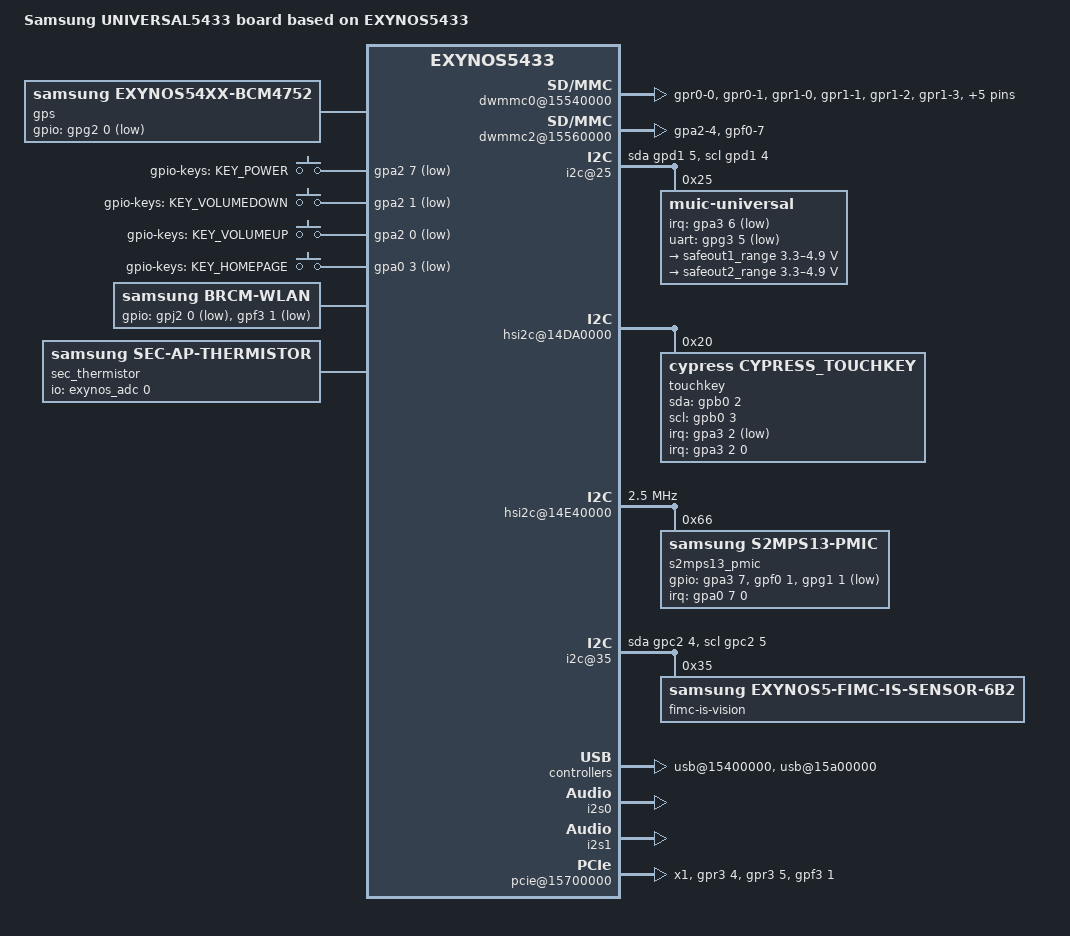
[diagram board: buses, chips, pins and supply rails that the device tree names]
/*
 * SAMSUNG UNIVERSAL5433 board device tree source
 *
 * Copyright (c) 2013 Samsung Electronics Co., Ltd.
 *		http://www.samsung.com
 *
 * This program is free software; you can redistribute it and/or modify
 * it under the terms of the GNU General Public License version 2 as
 * published by the Free Software Foundation.
*/

#include "exynos5433.dtsi"

/ {

	model = "Samsung UNIVERSAL5433 board based on EXYNOS5433";
	compatible = "samsung,UNIVERSAL5433", "samsung,exynos5433";

	aliases {
		spi0 = &spi_0;
		spi1 = &spi_1;
		spi2 = &spi_2;
		spi3 = &spi_3;
		spi4 = &spi_4;
		spi5 = &spi_5;
		spi6 = &spi_6;
	};

	chosen {
		bootargs = "console=ttySAC1,115200 vmalloc=256M";
	};

	fixed-rate-clocks {
		oscclk {
			compatible = "samsung,exynos5433-oscclk";
			clock-frequency = <24000000>;
		};
	};

	dwmmc0@15540000 {
		status = "okay";
		num-slots = <1>;
		broken-cd;
		bypass-smu;
		clock-gate;
		enable-cclk-on-suspend;
		fixed_volt;
		only_once_tune;
		supports-highspeed;
		supports-hs200-1-8v-mode;
		supports-ddr200-1-8v-mode;
		supports-ddr200-enhanced-strobe;
		supports-poweroff-notification;
		device-driver = <1>;
		enable-cache-control;
		enable-no-sleep-cmd;
		use-fine-tuning;
		use-enable-shift;
		enable-ulp-mode;
		ignore-phase = <(1 << 7 | 1 << 6)>;
		extra_tuning;
		bypass-for-allpass;
		desc-size = <4>;
		fifo-depth = <0x80>;
		qos_int_level = <400000>;
		use-enable-shift;
		card-detect-delay = <200>;
		samsung,dw-mshc-ddr200-delay-line = <0x40>;
		samsung,dw-mshc-ddr200-tx-delay-line = <0x40>;
		samsung,dw-mshc-txdt-crc-timer-fastlimit = <0x34>;
		samsung,dw-mshc-txdt-crc-timer-initval = <0x38>;
		samsung,dw-mshc-ciu-div = <3>;
		samsung,dw-mshc-sdr-timing = <3 0 2 0>;
		samsung,dw-mshc-sdr-hs-timing = <3 0 2 1>;
		samsung,dw-mshc-ddr-timing = <3 0 3 2>;
		samsung,dw-mshc-hs200-timing = <3 0 3 0>;
		samsung,dw-mshc-ddr200-timing = <1 0 3 0>;
		samsung,dw-mshc-ddr200-ulp-timing = <3 0 3 0>;
		clk_pin = "gpr0-0";
		clk_addr = "15690000.pinctrl";
		clk_val = <0x3>;
		clk_str_num = <6>;
		num-ref-clks = <10>;
		ciu_clkin = <25 50 50 100 200 100 200 400 400 200>;
		pinctrl-names = "default";
		pinctrl-0 = <&sd0_clk &sd0_cmd &sd0_rdqs &sd0_bus1 &sd0_bus4 &sd0_bus8>;
		gpios = <&gpd6 6 0>;
		slot@0 {
			reg = <0>;
			bus-width = <8>;
		};
	};

	dwmmc1@15550000 {
		status = "disabled";
		num-slots = <1>;
		fixed_volt;
		clock-gate;
		enable-cclk-on-suspend;
		only_once_tune;
		supports-highspeed;
		not-allow-single-dma;
		desc-size = <4>;
		fifo-depth = <0x40>;
		card-detect-delay = <200>;
		qos_int_level = <200000>;
		samsung,dw-mshc-ciu-div = <3>;
		samsung,dw-mshc-sdr-timing = <3 0 2 1>;
		samsung,dw-mshc-ddr-timing = <3 0 3 2>;
		num-ref-clks = <8>;
		ciu_clkin = <25 50 50 100 200 100 200 400>;
		pinctrl-names = "default";
		pinctrl-0 = <&sd1_clk &sd1_cmd &sd1_bus1 &sd1_bus4>;

		slot@0 {
			reg = <0>;
			bus-width = <4>;
		};
	};

	dwmmc2@15560000 {
		status = "okay";
		num-slots = <1>;
		bypass-smu;
		supports-highspeed;
		supports-sdr104-mode;
		only_once_tune;
		clock-gate;
		enable-cclk-on-suspend;
		fix-fmp-size-mismatch;
		not-allow-single-dma;
		desc-size = <4>;
		use-fine-tuning;
		bypass-for-allpass;
		cd-type = <0>;
		fifo-depth = <0x40>;
		card-detect-delay = <200>;
		qos_int_level = <400000>;
		ignore-phase = <(1 << 7)>;
		samsung,dw-mshc-ciu-div = <3>;
		samsung,dw-mshc-sdr-timing = <3 0 2 1>;
		samsung,dw-mshc-ddr-timing = <3 0 3 2>;
		clk_pin = "gpr4-0";
		clk_addr = "15690000.pinctrl";
		clk_val = <0x2>;
		clk_str_num = <6>;
		num-ref-clks = <8>;
		ciu_clkin = <25 50 50 100 200 100 200 400>;
		pinctrl-names = "default", "output";
		pinctrl-0 = <&sd2_clk &sd2_cmd &sd2_bus1 &sd2_bus4 &dwmmc2_cd_ext_irq &dwmmc2_vmmc_en_gpio>;
		pinctrl-1 = <&sd2_clk_output &sd2_cmd_output &sd2_bus1 &sd2_bus4 &dwmmc2_cd_ext_irq &dwmmc2_vmmc_en_gpio>;

		gpio-controller;
		#gpio-cells = <2>;
		cd-gpio = <&gpa2 4 0xf>;
		sec-sd-slot-type = <2>; /* Hybrid slot model */

		vmmc-en-gpio = <&gpf0 7 0x1>;

		slot@0 {
			reg = <0>;
			bus-width = <4>;
			disable-wp;
		};
	};

	pinctrl@15690000 {
		sd0_clk: sd0-clk {
			samsung,pins = "gpr0-0";
			samsung,pin-function = <2>;
			samsung,pin-pud = <0>;
			samsung,pin-drv = <3>;
		};

		sd0_cmd: sd0-cmd {
			samsung,pins = "gpr0-1";
			samsung,pin-function = <2>;
			samsung,pin-pud = <0>;
			samsung,pin-drv = <2>;
		};

		sd0_bus1: sd0-bus-width1 {
			samsung,pins = "gpr1-0";
			samsung,pin-function = <2>;
			samsung,pin-pud = <0>;
			samsung,pin-drv = <2>;
		};

		sd0_bus4: sd0-bus-width4 {
			samsung,pins = "gpr1-1", "gpr1-2", "gpr1-3";
			samsung,pin-function = <2>;
			samsung,pin-pud = <0>;
			samsung,pin-drv = <2>;
		};

		sd0_bus8: sd0-bus-width8 {
			samsung,pins = "gpr1-4", "gpr1-5", "gpr1-6", "gpr1-7";
			samsung,pin-function = <2>;
			samsung,pin-pud = <0>;
			samsung,pin-drv = <2>;
		};
	};

	pinctrl@11090000 {
		dwmmc2_vmmc_en_gpio: dwmmc2-vmmc-en-gpio {
			samsung,pins = "gpf0-7";
			samsung,pin-function = <0x1>;
			samsung,pin-pud = <0>;
		};
	};

	pinctrl@10580000 {
		dwmmc2_cd_ext_irq: dwmmc2_cd_ext_irq {
			samsung,pins = "gpa2-4";
			samsung,pin-function = <0xf>;
			samsung,pin-pud = <0>;
			samsung,pin-drv = <0>;
		};
		pmic_irq: pmic-irq {
			samsung,pins = "gpa0-7";
			samsung,pin-pud = <0>;
			samsung,pin-drv = <3>;
		};
		/* Warm reset information from AP */
		pm_wrsti: pm-wrsti {
			samsung,pins = "gpf5-4";
			samsung,pin-pud = <0>;
			samsung,pin-con-pdn = <3>;
		};

		gpa3_pull_up: gpa3_pull_up_for_smpl {
			samsung,pins = "gpa3-7";
			samsung,pin-function = <0xf>;
			samsung,pin-pud = <3>;
			samsung,pin-drv = <0>;
		};

	};

	pinctrl@14CC0000 {
		uart0_rts: uart0-rts {
			samsung,pins = "gpd0-3";
			samsung,pin-function = <2>;
			samsung,pin-pud = <1>;
			samsung,pin-con-pdn = <3>;
			samsung,pin-pud-pdn = <1>;
		};

		uart0_cts: uart0-cts {
			samsung,pins = "gpd0-2";
			samsung,pin-function = <2>;
			samsung,pin-pud = <1>;
			samsung,pin-con-pdn = <3>;
			samsung,pin-pud-pdn = <1>;
		};

		uart0_tx: uart0-tx {
			samsung,pins = "gpd0-1";
			samsung,pin-function = <2>;
			samsung,pin-pud = <3>;
			samsung,pin-con-pdn = <3>;
			samsung,pin-pud-pdn = <3>;
		};

		uart0_rx: uart0-rx {
			samsung,pins = "gpd0-0";
			samsung,pin-function = <2>;
			samsung,pin-pud = <3>;
			samsung,pin-con-pdn = <3>;
			samsung,pin-pud-pdn = <3>;
		};
	};

	serial@14C10000 {
		pinctrl-0 = <&uart0_rts &uart0_cts &uart0_tx &uart0_rx>;
	};
	
	gps {
		compatible = "samsung,exynos54xx-bcm4752";
		gpios = <&gpg2 0 0x1>;  /* GPS_PWR_EN */
		status = "okay";
	};
	
	gpio_keys {
		compatible = "gpio-keys";
		#address-cells = <1>;
		#size-cells = <0>;
		pinctrl-names = "default";
		button@1 {
			label = "gpio-keys: KEY_POWER";
			interrupts = <7 0 0>;
			interrupt-parent = <&gpa2>;
			linux,code = <116>;
			gpios = <&gpa2 7 0xf>;
			gpio-key,wakeup = <1>;
		};
		button@2 {
			label = "gpio-keys: KEY_VOLUMEDOWN";
			interrupts = <1 0 0>;
			interrupt-parent = <&gpa2>;
			linux,code = <114>;
			gpios = <&gpa2 1 0xf>;
		};
		button@3 {
			label = "gpio-keys: KEY_VOLUMEUP";
			interrupts = <0 0 0>;
			interrupt-parent = <&gpa2>;
			linux,code = <115>;
			gpios = <&gpa2 0 0xf>;
		};
		button@4 {
			label = "gpio-keys: KEY_HOMEPAGE";
			interrupts = <3 0 0>;
			interrupt-parent = <&gpa0>;
			linux,code = <172>;
			gpios = <&gpa0 3 0xf>;
			gpio-key,wakeup = <1>;
		};
	};

	pinctrl@10580000 {
		if_pmic_irq: if-pmic-irq {
			samsung,pins = "gpa1-5";
			samsung,pin-function = <0>;
			samsung,pin-pud = <0>;
			samsung,pin-drv = <0>;
		};
		muic_irq: muic-irq {
			samsung,pins = "gpa3-6";
			samsung,pin-function = <0>;
			samsung,pin-pud = <0>;
			samsung,pin-drv = <0>;
		};
		wc_irq: wc-irq {
			samsung,pins = "gpa3-5";
			samsung,pin-function = <0>;
			samsung,pin-pud = <0>;
			samsung,pin-drv = <0>;
		};
	};

	pinctrl@14CC0000 {
		/* touchkey i2c*/
		cfg_i2c: cfg-i2c {
			samsung,pins = "gpb0-3", "gpb0-2";
			samsung,pin-function = <4>;
			samsung,pin-pud = <0>;
			samsung,pin-drv = <0>;
		};
		cfg_gpio: cfg_gpio {
			samsung,pins = "gpb0-3", "gpb0-2";
			samsung,pin-function = <0>;
			samsung,pin-pud = <0>;
			samsung,pin-drv = <0>;
		};

		/* muic i2c*/
		muic_i2c: muic-i2c {
			samsung,pins = "gpd1-5", "gpd1-4";
			samsung,pin-function = <1>;
			samsung,pin-pud = <0>;
			samsung,pin-drv = <0>;
		};

		/delete-node/ spi3-cs;
		uart_gpio: uart_gpio {
			samsung,pins = "gpg3-5";
			samsung,pin-function = <1>;
			samsung,pin-pud = <0>;
			samsung,pin-drv = <0>;
		};
	};

	pinctrl@10580000 {
		/* touchkey interrupt*/
		cfg_irq: cfg-irq {
			samsung,pins = "gpa3-2";
			samsung,pin-function = <0xf>;
			samsung,pin-pud = <0>;
			samsung,pin-drv = <0>;
		};
		cfg_input: cfg-input {
			samsung,pins = "gpa3-2";
			samsung,pin-function = <0>;
			samsung,pin-pud = <1>;
			samsung,pin-drv = <0>;
		};
	};

	pinctrl@14CE0000 {
		hs_i2c5_bus: hs-i2c5-bus {
			samsung,pins = "gpj1-1", "gpj1-0";
			samsung,pin-function = <4>;
			samsung,pin-pud = <0>;
			samsung,pin-drv = <0>;
			samsung,pin-con-pdn = <2>;
			samsung,pin-pud-pdn = <1>;
		};
	};

	hsi2c@14D90000 {
		max77843@66 {
			status = "disabled";
			compatible = "maxim,max77843";
			reg = <0x66>;
			pinctrl-names = "default";
			pinctrl-0 = <&if_pmic_irq &vibetonz_pwm &wc_irq>;
			max77843,irq-gpio = <&gpa1 5 1>;
			max77843,wakeup;

			regulators {
				ESAFEOUT1 {
					regulator-compatible = "safeout1";
					regulator-name = "safeout1_range";
					regulator-min-microvolt = <3300000>;
					regulator-max-microvolt = <4900000>;
					regulator-boot-on;
				};

				ESAFEOUT2 {
					regulator-compatible = "safeout2";
					regulator-name = "safeout2_range";
					regulator-min-microvolt = <3300000>;
					regulator-max-microvolt = <4900000>;
				};
			};
		};
		max77849@66 {
			status = "disabled";
			compatible = "maxim,max77849";
			reg = <0x66>;
			pinctrl-names = "default";
			pinctrl-0 = <&if_pmic_irq &vibetonz_pwm &wc_irq>;
			max77849,irq-gpio = <&gpa1 5 1>;
			max77849,wakeup;

			regulators {
				ESAFEOUT1 {
					regulator-compatible = "safeout1";
					regulator-name = "safeout1_range";
					regulator-min-microvolt = <3300000>;
					regulator-max-microvolt = <4900000>;
					regulator-boot-on;
				};

				ESAFEOUT2 {
					regulator-compatible = "safeout2";
					regulator-name = "safeout2_range";
					regulator-min-microvolt = <3300000>;
					regulator-max-microvolt = <4900000>;
				};
			};
		};
	};

	i2c@25 {
		compatible = "i2c-gpio";
		gpios = <&gpd1 5 0 &gpd1 4 0>;
		i2c-gpio,delay-us = <2>;
		#address-cells = <1>;
		#size-cells = <0>;
		status = "ok";
		muic-universal@25 {
			compatible = "muic-universal";
			reg = <0x25>;
			pinctrl-names = "default";
			pinctrl-0 = <&muic_irq>;
			muic-universal,irq-gpio = <&gpa3 6 1>;
			muic-universal,uart-gpio = <&gpg3 5 1>;
			muic-universal,wakeup;

			regulators {
				ESAFEOUT1 {
					regulator-compatible = "safeout1";
					regulator-name = "safeout1_range";
					regulator-min-microvolt = <3300000>;
					regulator-max-microvolt = <4900000>;
					regulator-boot-on;
				};

				ESAFEOUT2 {
					regulator-compatible = "safeout2";
					regulator-name = "safeout2_range";
					regulator-min-microvolt = <3300000>;
					regulator-max-microvolt = <4900000>;
				};
			};

		};
	};

	haptic {
		status = "okay";
		haptic,max_timeout = <10000>;
		haptic,duty = <32448>;
		haptic,period = <33814>;
		haptic,reg2 = <0x82>;
		haptic,pwm_id = <0>;
		haptic,regulator_name = "VCC_3.0V_MOTOR_AP";
	};

	rgb {
		rgb-name = "led_w", "led_r", "led_g", "led_b";
	};

	hall {
		status = "okay";
		compatible = "hall";
		pinctrl-names = "default";
		pinctrl-0 = <&hall_irq>;
		hall,gpio_flip_cover = <&gpa0 1 0>;
	};

	pinctrl@14CC0000 {
		w1_gpio: w1-gpio {
			samsung,pins = "gpd2-5";
			samsung,pin-function = <0>;
			samsung,pin-pud = <0>;
			samsung,pin-drv = <0>;
		};
	};

	usb_notifier {
		compatible = "samsung,usb-notifier";
	};

	muic {
		status = "disabled";
		muic,support-list = "+OTG:GND",
					"+MHL:1K",
					"-VZW Accessory:28.7K",
					"-VZW Incompatible:34K",
					"-Smartdock:40.2K",
					"-HMT:49.9K",
					"-Audiodock:64.9K",
					"+USB LANHUB:80.07K",
					"+Charging Cable:102K",
					"+Universal Multimedia dock:121K",
					"+Jig USB Off:255K",
					"+Jig USB On:301K",
					"+Deskdock:365K",
					"+TYPE2 Charger:442K",
					"+Jig UART Off:523K",
					"+Jig UART On:619K",
					"+TA:OPEN",
					"+USB:OPEN",
					"+CDP:OPEN",
					"+Undefined Charging:XXX";
	};

	hsi2c@14DA0000 {
		status = "okay";
		pinctrl-names = "default","on_i2c","off_i2c";
		pinctrl-0 = <&hs_i2c9_bus>;
		pinctrl-1 = <&cfg_i2c>;
		pinctrl-2 = <&cfg_gpio>;
		touchkey@20 {
			pinctrl-names = "on_irq","off_irq";
			pinctrl-0 = <&cfg_irq>;
			pinctrl-1 = <&cfg_input>;
			compatible = "cypress,cypress_touchkey";
			reg = <0x20>;
			interrupts = <2 0 0>;
			interrupt-parent = <&gpa3>;
			cypress,sda-gpio = <&gpb0 2 0>;
			cypress,scl-gpio = <&gpb0 3 0>;
			cypress,irq-gpio = <&gpa3 2 1>;
			cypress,ic-stabilizing-time = <150>;
			cypress,boot-on-ldo = "true";
		};
	};

	hsi2c@14E40000 {
		status = "okay";
		samsung,hs-mode;
		clock-frequency = <2500000>;

		s2mps13_pmic@66 {
			compatible = "samsung,s2mps13-pmic";
			reg = <0x66>;
			interrupts = <7 0 0>;
			interrupt-parent = <&gpa0>;
			gpios = <&gpa3 7 0>, <&gpf0 1 0x0>, <&gpg1 1 0x1>;
			smpl_warn_vth = <0x00>; /* 2.3V */
			smpl_warn_en = <1>; /* 1 : enable , 0 : disable*/
			g3d_en = <0>; /* 1 : enable , 0 : disable */
			dvs_en = <1>; /* 1 : enable , 0 : disable */
			/* RTC: wtsr/smpl */
			wtsr_en = <1>; /* enable */
			smpl_en = <1>; /* enable */
			wtsr_timer_val = <3>;	/* 1000ms */
			smpl_timer_val = <2>;	/* 300ms */
			check_jigon = <0>; /* do not check jigon */
			/* RTC: If it's first boot, reset rtc to 1/1/2014 12:00:00(Wed) */
			init_time,sec = <0>;
			init_time,min = <0>;
			init_time,hour = <12>;
			init_time,mday = <1>;
			init_time,mon = <0>;
			init_time,year = <114>;
			init_time,wday = <3>;
		};
	};

	pinctrl@10580000 {
		hall_irq: hall-irq {
			samsung,pins = "gpa0-1";
			samsung,pin-function = <0xf>;
			samsung,pin-pud = <0>;
			samsung,pin-drv = <0>;
		};

		hrm_int: hrm-int {
			samsung,pins = "gpa0-6";
			samsung,pin-function = <0>;
			samsung,pin-pud = <0>;
			samsung,pin-drv = <3>;
		};
	};

	ion {
		compatible = "samsung,exynos5430-ion";

		contig-names = "common",
			       "video_ext",
			       "mfc_sh",
			       "g2d_wfd",
			       "video",
			       "sectbl",
			       "mfc_fw",
			       "mfc_nfw",
			       "secdma";

		contig = <0 0x600000 0xdda00000>,
			 <1 0x600000 0xdd400000>,
			 <2 0x100000 0xde800000>,
		         <10 0x800000 0xdcc00000>,
		         <11 0xce00000 0xcfe00000>,
		         <9 0x100000 0xcfd00000>,
		         <8 0x200000 0xcfb00000>,
		         <12 0x200000 0xcf900000>,
		         <13 0x20000 0xde900000>;

		contig-isolate_on_boot = <0>, <1>, <2>, <8>,
					  <9>, <10>, <11>, <12>, <13>;

		secure = <11>, <9>, <8>, <1>;

		ion_noncontig_heap {
			id-type = <0 0>;
		};

		exynos_contig_heap {
			id-type = <4 6>;
		};
	};

	pinctrl@10580000 {
		disp_errfg: disp_errfg {
			samsung,pins = "gpf1-7";
			samsung,pin-function = <0xf>;
			samsung,pin-pud = <1>;
		};
		disp_errfg_off: disp_errfg_off {
			samsung,pins = "gpf1-7";
			samsung,pin-function = <1>;
			samsung,pin-pud = <1>;
			samsung,pin-val = <0>;
		};
	};

	/* disp_driver */
	decon_fb: decon_fb {
		oled-pcd-gpio = <&gpf1 6 0x1>;
		gpio-tcon-rdy = <&gpf1 6 0>;
		lcd_info = <&ana38401>;
		decon_board = <&decon_board_list>;

		pinctrl-names = "turnon_tes", "turnoff_tes";
		pinctrl-0 = <&disp_teson>;
		pinctrl-1 = <&disp_tesoff>;

		decon: decon_ctrl {
			samsung,max_bpp = <32>;
			samsung,default_bpp = <24>;

			fb_driver_data {
				fb_win_variant_0 {
					has_osd_c = <1>;
					has_osd_d = <1>;
					osd_size_off = <0x08>;
					palette_size = <256>;
					VALID_BPP_1248 = <1>;
					VALID_BPP_13 = <1>;
					VALID_BPP_15 = <1>;
					VALID_BPP_16 = <1>;
					VALID_BPP_18 = <1>;
					VALID_BPP_19 = <1>;
					VALID_BPP_24 = <1>;
					VALID_BPP_25 = <1>;
					VALID_BPP_32 = <1>;
				};
				fb_win_variant_1 {
					has_osd_c = <1>;
					has_osd_d = <1>;
					has_osd_alpha = <1>;
					osd_size_off = <0x0c>;
					palette_size = <256>;
					VALID_BPP_1248 = <1>;
					VALID_BPP_13 = <1>;
					VALID_BPP_15 = <1>;
					VALID_BPP_16 = <1>;
					VALID_BPP_18 = <1>;
					VALID_BPP_19 = <1>;
					VALID_BPP_24 = <1>;
					VALID_BPP_25 = <1>;
					VALID_BPP_32 = <1>;
				};
				fb_win_variant_2 {
					has_osd_c = <1>;
					has_osd_d = <1>;
					has_osd_alpha = <1>;
					osd_size_off = <0x0c>;
					palette_size = <256>;
					VALID_BPP_1248 = <1>;
					VALID_BPP_13 = <1>;
					VALID_BPP_15 = <1>;
					VALID_BPP_16 = <1>;
					VALID_BPP_18 = <1>;
					VALID_BPP_19 = <1>;
					VALID_BPP_24 = <1>;
					VALID_BPP_25 = <1>;
					VALID_BPP_32 = <1>;
				};
				fb_win_variant_3 {
					has_osd_c = <1>;
					has_osd_alpha = <1>;
					palette_size = <256>;
					VALID_BPP_1248 = <1>;
					VALID_BPP_13 = <1>;
					VALID_BPP_15 = <1>;
					VALID_BPP_16 = <1>;
					VALID_BPP_18 = <1>;
					VALID_BPP_19 = <1>;
					VALID_BPP_24 = <1>;
					VALID_BPP_25 = <1>;
					VALID_BPP_32 = <1>;
				};
				fb_win_variant_4 {
					has_osd_c = <1>;
					has_osd_alpha = <1>;
					palette_size = <256>;
					VALID_BPP_1248 = <1>;
					VALID_BPP_13 = <1>;
					VALID_BPP_15 = <1>;
					VALID_BPP_16 = <1>;
					VALID_BPP_18 = <1>;
					VALID_BPP_19 = <1>;
					VALID_BPP_24 = <1>;
					VALID_BPP_25 = <1>;
					VALID_BPP_32 = <1>;
				};
			};
		};

		mipi_dsi: mipi_dsi {
			/* Interface definition: 0 - DSIM_COMMAND,
						 1 - DSIM_VIDEO */
			e_interface = <0>;

			/* Pixel format : 0 - DSIM_CMD_3BPP,
					  1 - DSIM_CMD_8BPP,
					  2 - DSIM_CMD_12BPP,
					  3 - DSIM_CMD_16BPP,
					  4 - DSIM_VID_16BPP_565,
					  5 - DSIM_VID_18BPP_666PACKED,
					  6 - DSIM_18BPP_666LOOSELYPACKED,
					  7 - DSIM_24BPP_888 */
			e_pixel_format = <7>;

			/* main frame fifo auto flush at VSYNC pulse */
			auto_flush = <0>;
			eot_disable = <1>;
			auto_vertical_cnt = <0>;
			hse = <0>;
			hfp = <0>;
			hbp = <0>;
			hsa = <0>;

			/* num of data lane : 0 - DSIM_DATA_LANE_1,
					      1 - DSIM_DATA_LANE_2,
					      2 - DSIM_DATA_LANE_3,
					      3 - DSIM_DATA_LANE_4 */
			e_no_data_lane = <3>;
			/* byte clock divider : 0 - DSIM_PLL_OUT_DIV8,
						1 - DSIM_EXT_CLK_DIV8,
						2 - DSIM_EXT_CLK_BYPASS */
			e_byte_clk = <0>;
			/* Burst mode : 0 - DSIM_NON_BURST_SYNC_EVENT,
					2 - DSIM_NON_BURST_SYNC_PULSE,
					1 - DSIM_BURST
					4 - DSIM_NON_VIDEO_MODE */
			e_burst_mode = <1>;

			/* D-PHY PLL stable time spec :min = 200usec ~ max 400usec */
			pll_stable_time = <500>;
			/* escape clk : 7MHz */
			esc_clk = <7000000>;
			/* stop state holding counter after bta change count 0 ~ 0xfff */
			stop_holding_cnt = <0x0fff>;
			/* bta timeout 0 ~ 0xff */
			bta_timeout = <0xff>;
			/* lp rx timeout 0 ~ 0xffff */
			rx_timeout = <0xffff>;
		};
		decon_mic: decon_mic {
			sysreg1 = <0x13B81004>;
			sysreg2 = <0x13B81048>;
		};

		ana38401: ana38401_qxga {
			mode = <0>;
			resolution = <2048 1536>;
			size = <197 147>;
			timing,refresh = <60>;
			timing,h-porch = <1 1 1>;
			timing,v-porch = <15 1 1>;
			timing,dsi-hs-clk = <896>;
			timing,dsi-escape-clk = <16>;
			mic = <1>;

			gpio-tcon-int = <&gpf1 7 0>;
			pinctrl-names = "errfg_on", "errfg_off";
			pinctrl-0 = <&disp_errfg>;
			pinctrl-1 = <&disp_errfg_off>;
		};

		s6e3ha2: s6e3ha2_qxga {
			mode = <0>;
			resolution = <1536 2048>;
			size = <122 163>;
			timing,refresh = <60>;
			timing,h-porch = <1 1 1>;
			timing,v-porch = <15 1 1>;
			timing,dsi-hs-clk = <1024>;
			timing,dsi-escape-clk = <16>;
			mic = <1>;

			oled-errfg-gpio = <&gpb0 4 0>;
			pinctrl-names = "errfg_on", "errfg_off";
			pinctrl-0 = <&disp_errfg>;
			pinctrl-1 = <&disp_errfg_off>;
		};

		decon_board_list: decon_board_list {
			enable_display_driver_power {
				type = "gpio,high", "delay,usleep", "pinctrl,turnon_tes";
				gpios = <&gpf1 5 0x1>;
				delay = <15000 16000>;
			};
			disable_display_driver_power {
				type = "gpio,low", "delay,usleep", "gpio,low", "delay,msleep", "pinctrl,turnoff_tes";
				gpios = <&gpb0 4 0x1>, <&gpf1 5 0x1>;
				delay = <5000 6000>, <50>;
			};
			reset_display_driver_panel {
				type = "delay,msleep", "gpio,low", "gpio,high";
				gpios = <&gpb0 4 0x1>, <&gpb0 4 0x1>;
				delay = <70>;
			};
		};

		decon_board_gts28: decon_board_gts28 {
			enable_display_driver_power {
				type = "regulator,enable", "regulator,enable", "regulator,enable", "delay,usleep", "pinctrl,turnon_tes";
				delay = <10000 11000>;
				regulator = "VDD3_1.8V", "VDDR_1.6V", "VCI_3.0V";
			};
			disable_display_driver_power {
				type = "gpio,low", "regulator,disable", "regulator,disable", "regulator,disable", "pinctrl,turnoff_tes";
				gpios = <&gpg0 0 0x1>;
				regulator = "VCI_3.0V", "VDDR_1.6V", "VDD3_1.8V";
			};
			reset_display_driver_panel {
				type = "gpio,high", "delay,usleep", "gpio,low", "delay,usleep", "gpio,high", "delay,usleep";
				gpios = <&gpg0 0 0x1>, <&gpg0 0 0x1>, <&gpg0 0 0x1>;
				delay = <5000 6000>, <5000 6000>, <5000 6000>;
			};
		};
	};

	spi_3: spi@14d50000 {
		status = "disabled";
	};

	spi_5: spi@141a0000 {
		status = "disabled";
	};

	spi_6: spi@141b0000 {
		status = "disabled";
	};

	i2c@35{
		compatible = "i2c-gpio";
		gpios = <&gpc2 4 0 /* sda */
		         &gpc2 5 0 /* scl */
		        >;
		i2c-gpio,delay-us = <2>;
		#address-cells = <1>;
		#size-cells = <0>;
		status = "okay";

		fimc-is-vision@35 {
			compatible = "samsung,exynos5-fimc-is-sensor-6b2";
			reg = <0x35>;
		};
	};

	/* Companion driver */
	fimc_is_companion: fimc_is_companion@14180000 {
		status = "disabled";
	};

	fimc_is_sensor0: fimc_is_sensor@12100000 {
		scenario = <0>;
		clock-names =
			/* SENSOR0 MCLK */
			"sclk_isp_sensor0",		/* 33 */
			"mout_sclk_isp_sensor0",	/* 3066 */
			"dout_sclk_isp_sensor0_a",	/* 4090 */
			"dout_sclk_isp_sensor0_b",	/* 4091 */

			"mout_bus_pll_user",		/* 3010 */
			"oscclk",			/* 5000 */

			/* SPI-ISP */
			"sclk_isp_spi0_top",		/* 30 */
			"sclk_isp_spi1_top",		/* 31 */
			"mout_sclk_isp_spi0",		/* 3063 */
			"mout_sclk_isp_spi1",		/* 3064 */

			"gate_isp_spi1",		/* 2625 */
			"gate_isp_spi0",		/* 2626 */
			"dout_sclk_isp_spi0_a",		/* 4080 */
			"dout_sclk_isp_spi0_b",		/* 4081 */
			"dout_sclk_isp_spi1_a",		/* 4082 */
			"dout_sclk_isp_spi1_b",		/* 4083 */

			"mout_sclk_isp_spi0_user",	/* 3180 */
			"mout_sclk_isp_spi1_user",	/* 3181 */

			/* CMU TOP */
			"dout_aclk_cam1_333",		/* 4047 */

			/* USER_MUX_SEL */
			"aclk_cam1_333",		/* 342 */
			"mout_aclk_cam1_333_user",	/* 3225 */

			/* MPWM */
			"dout_pclk_cam1_166",		/* 4183 */
			"dout_pclk_cam1_83",		/* 4184 */
			"dout_sclk_isp_mpwm";		/* 4185 */
		clocks =
			/* SENSOR0 MCLK */
			<&clock 33>,
			<&clock 3066>,
			<&clock 4090>,
			<&clock 4091>,

			<&clock 3010>,
			<&clock 5000>,

			/* SPI-ISP */
			<&clock 30>,
			<&clock 31>,
			<&clock 3063>,
			<&clock 3064>,

			<&clock 2625>,
			<&clock 2626>,
			<&clock 4080>,
			<&clock 4081>,
			<&clock 4082>,
			<&clock 4083>,

			<&clock 3180>,
			<&clock 3181>,

			/* CMU TOP */
			<&clock 4047>,

			/* USER_MUX_SEL */
			<&clock 342>,
			<&clock 3225>,

			/* MPWM */
			<&clock 4183>,
			<&clock 4184>,
			<&clock 4185>;
		pinctrl-names ="default", "ch0", "af0", "off0";
		pinctrl-0 = <&fimc_is_ch0_mclk_off>;
		pinctrl-1 = <&fimc_is_ch0_i2c &fimc_is_ch0_mclk>;
		pinctrl-2 = <&fimc_is_ch0_i2c &fimc_is_ch0_mclk &fimc_is_ch1_i2c>;
		pinctrl-3 = <&fimc_is_ch0_mclk_off>;

		scenario = <0>;
		mclk_ch = <0>;
		gpio_reset = <&gpc0 4 0x1>;
		id = <0>;
		csi_ch = <0>;
		flite_ch = <0>;
		i2c_ch = <0x010100>;
		i2c_addr = <0x00186E>;
		flash_first_gpio = <1>;
		flash_second_gpio = <2>;
		sensor_name = "4h5";
		sensor_id = <13>;
		is_bns = <1>;
		status = "okay";
	};

	fimc_is_sensor1: fimc_is_sensor@12110000 {
		pinctrl-names ="default", "ch1", "off1";
		pinctrl-0 = <&fimc_is_ch2_mclk_off>;
		pinctrl-1 = <&fimc_is_ch2_i2c &fimc_is_ch2_mclk>;
		pinctrl-2 = <&fimc_is_ch2_mclk_off &fimc_is_ch2_i2c_off>;

		scenario = <0>;
		gpio_reset = <&gpc0 3 0x1>;
		gpio_standby = <&gpc0 0 0x1>;
		cam_1.2v_not_used;
		id = <1>;
		mclk_ch = <2>;
		csi_ch = <1>;
		flite_ch = <1>;
		i2c_ch = <0x2>;
		i2c_addr = <0x6A>;
		sensor_name = "6b2";
		sensor_id = <7>;
		is_bns = <0>;
		status = "okay";
	};

	fimc_is@14000000 {
		interrupts = <0 165 0>; /* Remove ISP_GIC to use FIMC IS i2c channel in host */
		companion_spi_channel = <0>;
		use_vision = <1>;
		use_sensor_dynamic_voltage_mode = <1>;
		/delete-property/ use_ois;
		/delete-property/ use_ois_hsi2c;
		use_module_check;
		/delete-property/ pinctrl-names;
		/delete-property/ pinctrl-0;
		total_camera_num = <2>;
		vtcam_mipi_lane_num = <2>;
		camera_info0 {				// 0 : rear
			isp = <0>;				/* 0 : INT , 1 : EXT , 2 : SOC */
			cal_memory = <2>;		/* 0 : N , 1 : FROM , 2 : EEPROM , 3 : OTP  */
			read_version = <0>;		/* 0 : SYSFS , 1 : CAMON */
			core_voltage = <0>;		/* 0 : N , 1 : Y  */
			upgrade = <0>;			/* 0 : N , 1 : SYSFS , 2 : CAMON */
			companion = <0>;	/* 0 : N , 1 : Y  */
			ois = <0>;				/* 0 : N , 1 : Y  */
		};
		camera_info1 {				// 1 : front
			isp = <0>;				/* 0 : INT , 1 : EXT , 2 : SOC */
			cal_memory = <0>;		/* 0 : N , 1 : FROM , 2 : EEPROM , 3 : OTP  */
			read_version = <0>;		/* 0 : SYSFS , 1 : CAMON */
			core_voltage = <0>;		/* 0 : N , 1 : Y  */
			upgrade = <0>;			/* 0 : N , 1 : SYSFS , 2 : CAMON */
			companion = <0>;	/* 0 : N , 1 : Y  */
			ois = <0>;				/* 0 : N , 1 : Y  */
		};
		fimc_is_dvfs {
			default_int = <400000>; /* L0 */
			default_cam = <777000>; /* L0 */
			default_mif = <825000>; /* L1 */
			default_i2c = <0>;

			front_preview_int = <200000>; /* L3 */
			front_preview_cam = <111000>; /* L9 */
			front_preview_mif = <413000>; /* L3 */
			front_preview_i2c = <0>;

			front_capture_int = <200000>; /* L3 */
			front_capture_cam = <111000>; /* L9 */
			front_capture_mif = <413000>; /* L3 */
			front_capture_i2c = <0>;

			front_camcording_int = <200000>; /* L3 */
			front_camcording_cam = <111000>; /* L9 */
			front_camcording_mif = <413000>; /* L3 */
			front_camcording_i2c = <0>;

			front_vt1_int = <200000>; /* L3 */
			front_vt1_cam = <111000>; /* L9 */
			front_vt1_mif = <413000>; /* L3 */
			front_vt1_i2c = <0>;

			front_vt2_int = <200000>; /* L3 */
			front_vt2_cam = <111000>; /* L9 */
			front_vt2_mif = <413000>; /* L3 */
			front_vt2_i2c = <0>;

			rear_preview_fhd_bns_off_int = <400000>; /* L0 */
			rear_preview_fhd_bns_off_cam = <666000>; /* L1 */
			rear_preview_fhd_bns_off_mif = <667000>; /* L2 */
			rear_preview_fhd_bns_off_i2c = <0>;

			rear_preview_fhd_int = <400000>; /* L0 */
			rear_preview_fhd_cam = <666000>; /* L1 */
			rear_preview_fhd_mif = <667000>; /* L2 */
			rear_preview_fhd_i2c = <0>;

			rear_preview_whd_int = <400000>; /* L0 */
			rear_preview_whd_cam = <777000>; /* L0 */
			rear_preview_whd_mif = <825000>; /* L1 */
			rear_preview_whd_i2c = <0>;

			rear_preview_uhd_int = <400000>; /* L0 */
			rear_preview_uhd_cam = <777000>; /* L0 */
			rear_preview_uhd_mif = <825000>; /* L1 */
			rear_preview_uhd_i2c = <0>;

			rear_capture_int = <400000>; /* L0 */
			rear_capture_cam = <777000>; /* L0 */
			rear_capture_mif = <825000>; /* L1 */
			rear_capture_i2c = <0>;

			rear_camcording_fhd_bns_off_int = <400000>; /* L0 */
			rear_camcording_fhd_bns_off_cam = <666000>; /* L1 */
			rear_camcording_fhd_bns_off_mif = <667000>; /* L2 */
			rear_camcording_fhd_bns_off_i2c = <0>;

			rear_camcording_fhd_int = <400000>; /* L0 */
			rear_camcording_fhd_cam = <666000>; /* L1 */
			rear_camcording_fhd_mif = <667000>; /* L2 */
			rear_camcording_fhd_i2c = <0>;

			rear_camcording_whd_int = <400000>; /* L0 */
			rear_camcording_whd_cam = <777000>; /* L0 */
			rear_camcording_whd_mif = <825000>; /* L1 */
			rear_camcording_whd_i2c = <0>;

			rear_camcording_uhd_int = <400000>; /* L0 */
			rear_camcording_uhd_cam = <777000>; /* L0 */
			rear_camcording_uhd_mif = <825000>; /* L1 */
			rear_camcording_uhd_i2c = <0>;

			dual_preview_int = <400000>; /* L0 */
			dual_preview_cam = <222000>; /* L7 */
			dual_preview_mif = <667000>; /* L2 */
			dual_preview_i2c = <0>;

			dual_capture_int = <400000>; /* L0 */
			dual_capture_cam = <222000>; /* L7 */
			dual_capture_mif = <825000>; /* L1 */
			dual_capture_i2c = <0>;

			dual_camcording_int = <400000>; /* L0 */
			dual_camcording_cam = <222000>; /* L7 */
			dual_camcording_mif = <667000>; /* L2 */
			dual_camcording_i2c = <0>;

			high_speed_fps_int = <400000>; /* L0 */
			high_speed_fps_cam = <222000>; /* L0 */
			high_speed_fps_mif = <825000>; /* L1 */
			high_speed_fps_i2c = <0>;

			dis_enable_int = <400000>; /* L0 */
			dis_enable_cam = <777000>; /* L0 */
			dis_enable_mif = <825000>; /* L1 */
			dis_enable_i2c = <0>;

			max_int = <400000>; /* L0 */
			max_cam = <777000>; /* L0 */
			max_mif = <825000>; /* L0 */
			max_i2c = <0>;
		};
	};

	pinctrl@14CC0000 {
		fimc_is_ch0_i2c: fimc-is-ch0_i2c {
			samsung,pins = "gpc2-1", "gpc2-0";
			samsung,pin-function = <2>;
			samsung,pin-pud = <0>;
			samsung,pin-drv = <3>;
		};
		fimc_is_ch1_i2c: fimc-is-ch1-i2c {
			samsung,pins = "gpc2-3", "gpc2-2";
			samsung,pin-function = <2>;
			samsung,pin-pud = <0>;
			samsung,pin-drv = <3>;
		};
		fimc_is_i2c_0: fimc-is-i2c-0 {
			samsung,pins = "gpc2-1", "gpc2-0";
			samsung,pin-function = <2>;
			samsung,pin-pud = <0>;
			samsung,pin-drv = <3>;
		};
		fimc_is_comp_int: fimc-is-comp-int {
			samsung,pins = "gpc1-0";
			samsung,pin-function = <3>;
			samsung,pin-pud = <1>;
			samsung,pin-drv = <0>;
		};
		fimc_is_ois: fimc-is-ois {
			samsung,pins = "gpc2-3", "gpc2-2";
			samsung,pin-function = <1>;
			samsung,pin-pud = <0>;
			samsung,pin-drv = <0>;
		};
		uart1_bus: uart1-bus {
			samsung,pins = "gpd1-1", "gpd1-0";
			samsung,pin-function = <2>;
			samsung,pin-pud = <0>;
		};
		uart2_bus: uart2-bus {
			samsung,pins = "gpd1-4", "gpd1-5";
			samsung,pin-function = <2>;
			samsung,pin-pud = <0>;
		};
		fimc_is_ch0_mclk: fimc-is-ch0_mclk {
			samsung,pin-drv = <1>;
		};
		fimc_is_ch0_mclk_off: fimc-is-ch0_mclk_off {
			samsung,pins = "gpd7-0";
			samsung,pin-function = <1>;
			samsung,pin-pud = <1>;
			samsung,pin-drv = <0>;
		};
		fimc_is_vision_i2c: fimc-is-vision-i2c {
			samsung,pins = "gpd1-3", "gpd1-2";
			samsung,pin-function = <3>;
			samsung,pin-pud = <0>;
			samsung,pin-drv = <6>;
		};
		fimc_is_vision_gpio_i2c: fimc-is-vision-gpio-i2c {
			samsung,pins = "gpd1-3", "gpd1-2";
			samsung,pin-function = <0>;
			samsung,pin-pud = <0>;
			samsung,pin-drv = <0>;
		};
		fimc_is_ch2_i2c: fimc-is-ch2-i2c {
			samsung,pins = "gpc2-5", "gpc2-4";
			samsung,pin-function = <2>;
			samsung,pin-pud = <0>;
			samsung,pin-drv = <6>;
		};
		fimc_is_ch2_mclk: fimc-is-ch2-mclk {
			samsung,pin-drv = <2>;
		};
		fimc_is_ch2_mclk_off: fimc-is-ch2_mclk_off {
			samsung,pins = "gpd7-2";
			samsung,pin-function = <1>;
			samsung,pin-pud = <1>;
			samsung,pin-drv = <0>;
		};
		fimc_is_spi_ssn0: fimc-is-spi-ssn0 {
			samsung,pins = "gpc0-6";
			samsung,pin-function = <0>;
			samsung,pin-pud = <0>;
			samsung,pin-drv = <2>;
		};
		fimc_is_ois_hsi2c_on: fimc-is-ois-hsi2c-on {
			samsung,pins = "gpd1-3", "gpd1-2";
			samsung,pin-function = <3>;
			samsung,pin-pud = <0>;
			samsung,pin-drv = <0>;
		};
		fimc_is_hsi2c_off: fimc-is-hsi2c-off {
			samsung,pins = "gpd1-3", "gpd1-2";
			samsung,pin-function = <0>;
			samsung,pin-pud = <0>;
			samsung,pin-drv = <3>;
		};
		fimc_is_ch1_i2c_off: fimc-is-ch1-i2c-off {
			samsung,pins = "gpc2-3", "gpc2-2";
			samsung,pin-function = <0>;
			samsung,pin-pud = <0>;
			samsung,pin-drv = <3>;
		};
		fimc_is_ch2_i2c_off: fimc-is-ch2-i2c-off {
			samsung,pins = "gpc2-5", "gpc2-4";
			samsung,pin-function = <0>;
			samsung,pin-pud = <0>;
			samsung,pin-drv = <6>;
		};
	};

	usb@15400000 {
		status = "okay";
		/* using gpio (1:use, 0:not use) */
		is_gpio = <0>;

		dwc3 {
			maximum-speed = "high-speed";
			dr_mode = "otg";
			adj-sof-accuracy;
		};
	};

	usb@15a00000 {
		status = "okay";
		/* using gpio (1:use, 0:not use) */
		is_gpio = <0>;

		dwc3 {
			maximum-speed = "high-speed";
			dr_mode = "otg";
		};
	};

	mipi-lli@10F24000 {
		modem-name = "xmm7260";
		modems {
			ss300 {
				/* disable scrambler */
				scrambler = <0>;
				/* do not control automode by AP */
				automode = <0>;
			};

			xmm7260 {
				/* disable scrambler */
				scrambler = <0>;
				/* do not control automode by AP */
				automode = <0>;
			};
		};

		mphy {
			modem-name = "xmm7260";
			modems {
				ss300 {
					/* initial-gear is HS-G1 */
					init-gear = <2 1 1>;
					/* use shared reference clock for MPHY */
					shd-refclk = <1>;
				};

				xmm7260 {
					/* initial-gear is HS-G1 */
					init-gear = <2 1 1>;
					/* use shared reference clock for MPHY */
					shd-refclk = <1>;
				};
			};
		};
	};

	hdmi@13970000 {
		/* all bit clock supports: 1, not support: 0 */
		audio_master_clk = <0>;
		gpios = <&gpa3 0 0xf>;
	};

	ipa_pdata {
		compatible = "samsung,exynos-ipa";

		control_temp = <81>;
		temp_threshold = <30>;
		enabled = <1>;
		tdp = <3500>;
		boost = <1>;
		ros_power = <500>;
		a7_weight = <1024>;
		a15_weight = <256>;
		gpu_weight = <256>;
		a7_max_power = <1000>;
		a15_max_power = <6552>;
		gpu_max_power = <3110>;
		hotplug_out_threshold = <10>;
		hotplug_in_threshold = <0>;
		enable_ctlr = <1>;
		ctlr.mult = <2>;
		ctlr.k_i = <1>;
		ctlr.k_d = <0>;
		ctlr.feed_forward = <1>;
		ctlr.integral_reset_value = <0>;
		ctlr.integral_cutoff = <0>;
		ctlr.integral_reset_threshold = <10>;
	};

	i2s0: i2s@11440000 {
		status = "okay";
	};

	i2s1: i2s@14D60000 {
		status = "okay";
	};

	i2s_dummy: dummy-i2s {
		compatible = "snd-soc-dummy";
		status = "okay";
	};

	codec_dummy: dummy-codec {
		compatible = "samsung,dummy-codec";
		status = "okay";
	};

	sound {
		compatible = "samsung,pacific-arizona";
		samsung,audio-cpu = <&i2s0>;
		samsung,audio-codec = <&audio_codec
				       &audio_codec /* NULL */
				       &audio_codec /* NULL */
				       &audio_codec
				       &audio_codec
				       &audio_codec
				       &audio_codec
				       &audio_codec>;
		clocks = <&clock 4300>;
		clock-names = "mclk";
		status = "okay";
	};

	hdmi {
		compatible = "samsung,pacific-hdmi";
		samsung,audio-cpu = <&i2s1>;
		samsung,audio-codec = <&codec_dummy>;
		status = "okay";
	};

	secgpio_dvs {
		compatible = "samsung,exynos5433-secgpio-dvs";
		status = "okay";
	};
	wlan {
		compatible = "samsung,brcm-wlan";
		gpios = <&gpj2 0 0x1 /* WLAN_EN */
			 &gpf3 1 0x1 /* WLAN HOST WAKE GPIO_0 */>;
		pinctrl-names = "default";
		pinctrl-0 = <&cfg_wlanen &wlan_host_wake>;
		status = "okay";
	};
	pcie@15700000 {
		compatible = "samsung,exynos5433-pcie", "snps,dw-pcie";
		gpios = <&gpr3 4 0x1 /* CLKREQ_EN */>,
		        <&gpr3 5 0x1 /* PERST */>,
				<&gpf3 1 0x1 /* WLAN HOST WAKE GPIO_0 */>;
		reg = <0x156b0000 0x1000
			0x15680000 0x1000
			0x156f0000 0x2000
			0x105c0000 0x4
			0x0c000000 0x1000>;
		interrupts = <0 245 0>;
		clocks = <&clock 2176>,		/* gate_pcie */
			 <&clock 2177>;		/* gate_pcie_phy */
		clock-names = "gate_pcie", "gate_pcie_phy";
		pinctrl-names = "default";
		pinctrl-0 = <&pcie_bus &cfg_wlanen &pcie_wake &wlan_host_wake>;
		#address-cells = <3>;
		#size-cells = <2>;
		device_type = "pci";
		ranges = <0x00000800 0 0x0c000000 0x0c000000 0 0x00001000   /* configuration space */
			  0x81000000 0 0          0x0c001000 0 0x00010000   /* downstream I/O */
			  0x82000000 0 0x0c011000 0x0c011000 0 0x3feefff>; /* non-prefetchable memory */
		num-lanes = <1>;
		msi-base = <200>;
	};

	sec_thermistor {
		compatible = "samsung,sec-ap-thermistor";
		status = "okay";

		adc_array = <234 246 258 270 282 294 305 317 328 340
			351 366 381 395 410 425 440 455 469 484
			499 518 537 557 576 595 616 637 659 680
			701 725 748 775 801 828 856 883 912 942
			971 1014 1056 1099 1141 1184 1214 1245 1275 1306
			1336 1370 1404 1438 1472 1506 1539 1573 1607 1641
			1675 1716 1757 1799 1840 1881 1922 1963 2005 2046
			2087 2131 2174 2218 2262 2306 2349 2393 2437 2480
			2524 2565 2606 2648 2689 2730 2766 2802 2837 2873
			2909 2949 2990 3031 3056 3081 3108 3135 3162 3189
			3216 3238 3260 3281 3303 3325 3342 3359 3376 3393
			3410>;
		temp_array = <900 890 880 870 860 850 840 830 820 810
			800 790 780 770 760 750 740 730 720 710
			700 690 680 670 660 650 640 630 620 610
			600 590 580 570 560 550 540 530 520 510
			500 490 480 470 460 450 440 430 420 410
			400 390 380 370 360 350 340 330 320 310
			300 290 280 270 260 250 240 230 220 210
			200 190 180 170 160 150 140 130 120 110
			100 90 80 70 60 50 40 30 20 10
			0 (-10) (-20) (-30) (-40) (-50) (-60) (-70) (-80) (-90)
			(-100)(-110)(-120)(-130)(-140)(-150)(-160)(-170)(-180)(-190)
			(-200)>;

		io-channels = <&exynos_adc 0>;
		io-channel-names = "adc-ap-temp";
		io-channel-ranges;
	};

	argos {
		compatible = "samsung,argos";
		#address-cells = <1>;
		 /*  The device number should be assigned for each device, e.g. "boot_device@1" and "boot_device@2".
		   Duplicated number is not allowed. Please refer the below example. */

		 boot_device@1 {
			net_boost,label="IPC";
			net_boost,node="rmnet0 rmnet1 rmnet2 rmnet3 rmnet4 rmnet5 rmnet6 rmnet7";
			net_boost,table_size = <2>;
			net_boost,table= <100 0 0 1100000 0 825000 100000 0 1 0
					  130 0 0 1300000 0 825000 100000 0 1 0>;
		};
		/* Example
		   boot_device@2 {
			net_boost,label="WIFI";
			net_boost,node="wlan0";
			net_boost,table_size = <2>;
					 <Throughput(Mbps) ARM_min ARM_max KFC_min KFC_max MIF INT Task Irq HMPBoost>
			net_boost,table= <100 1000000 1000000 800000 800000 512000 256000 0 0 0
					  300 1500000 1500000 1000000 1000000 826000 413000 1 0 0>;
		};
		*/
		boot_device@2 {
			net_boost,label="EMMC";
			net_boost,node="";
			net_boost,sysnode="/sys/class/mmc_host/mmc0/trans_count";
			net_boost,table_size = <1>;
			/*		 <Throughput ARM_min ARM_max KFC_min KFC_max MIF INT Task Irq HMPBoost> */
			net_boost,table= <64 0 0 1300000 0 825000 400000 0 0 0>;
		};
		boot_device@3 {
			net_boost,label="P2P";
			net_boost,node="p2p-wlan0-0";
			net_boost,table_size = <3>;
			/*		 <Throughput ARM_min ARM_max KFC_min KFC_max MIF INT Task Irq HMPBoost> */
			net_boost,table= <30 1000000 0 800000 0 0 200000 0 0 0
					  50 1200000 0 1000000 0 0 200000 0 0 0
					  90 1700000 0 1100000 0 543000 267000 0 0 1>;
		};
		boot_device@4 {
			net_boost,label="CLAT";
			net_boost,node="clat clat4";
			net_boost,table_size = <3>;
			/*		 <Throughput ARM_min ARM_max KFC_min KFC_max MIF INT Task Irq HMPBoost> */
			net_boost,table= <120 1400000 0 0 0 825000 0 0 0 0
					  130 1500000 0 0 0 825000 0 0 0 0
					  150 1600000 0 0 0 825000 0 0 0 0>;
		};
		boot_device@5 {
			net_boost,label="WIFI";
			net_boost,node="wlan0";
			net_boost,table_size = <4>;
			net_boost,table= <50 0 0 0 0 0 0 0 0 0
					  100 0 0 0 0 0 0 0 0 0
					  180 0 0 0 0 0 0 1 1 1
					  300 0 0 0 0 0 0 1 1 1>;
		};
		boot_device@6 {
			net_boost,label="WIFI TX";
			net_boost,node="wlan0";
			net_boost,table_size = <3>;
			net_boost,table= <60 1200000 0 1000000 0 0 0 0 0 0
					  100 1500000 0 1200000 0 0 200000 0 0 1
					  180 1800000 0 1300000 0 543000 267000 1 1 1>;
		};
		boot_device@7 {
			net_boost,label="WIFI RX";
			net_boost,node="wlan0";
			net_boost,table_size = <4>;
			net_boost,table= <60 1000000 0 800000 0 0 200000 0 0 0
					  100 1200000 0 1000000 0 0 200000 0 0 1
					  120 1500000 0 1000000 0 0 200000 0 0 1
					  180 1900000 0 1300000 0 543000 267000 1 1 1>;
		};
	};

	input_booster {
		status = "okay";
		compatible = "input_booster";
		#address-cells = <1>;
		#size-cells = <0>;

		booster_key@1 {
			input_booster,label = "TOUCH";
			input_booster,type = <0>;	/* BOOSTER_DEVICE_TOUCH */

			input_booster,levels = <1 2 3 4 5 9 10>;

			/* Frequency table */
			/* for level	:		1_Head, 2_Tail, 3_Head, 4_Head/Tail, 5_Head, 9_Head, 9_Tail */
			input_booster,cpu_freqs = <1200000 0 0 0 1000000 1900000 1500000>;
			input_booster,hmp_boost = <1 0 0 0 1 1 1>;
			input_booster,kfc_freqs = <1000000 1300000 1300000 1300000 800000 1300000 1300000>;
			input_booster,mif_freqs = <667000 413000 413000 667000 667000 825000 825000>;
			input_booster,int_freqs = <334000 133000 133000 133000 334000 400000 400000>;

			/* Time table */
			input_booster,head_times = <130 130 130 130 120 500 0>;
			input_booster,tail_times = <500 500 500 200 500 1000 0>;
			input_booster,phase_times = <0 0 0 0 20 0 0>;
		};
		booster_key@2 {
			input_booster,label = "KEY";
			input_booster,type = <2>;	/* BOOSTER_DEVICE_KEY */

			input_booster,levels = <1>;

			/* Frequency table */
			/* for level	:	1_Head */
			input_booster,cpu_freqs = <1200000>;
			input_booster,hmp_boost = <1>;
			input_booster,kfc_freqs = <0>;
			input_booster,mif_freqs = <0>;
			input_booster,int_freqs = <0>;

			/* Time table */
			input_booster,head_times = <500>;
			input_booster,tail_times = <500>;
			input_booster,phase_times = <0>;
		};
		booster_key@3 {
			input_booster,label = "TOUCHKEY";
			input_booster,type = <3>;	/* BOOSTER_DEVICE_TOUCHKEY */

			input_booster,levels = <1>;

			/* Frequency table */
			/* for level	:	1_Head */
			input_booster,cpu_freqs = <1200000>;
			input_booster,hmp_boost = <1>;
			input_booster,kfc_freqs = <0>;
			input_booster,mif_freqs = <0>;
			input_booster,int_freqs = <0>;

			/* Time table */
			input_booster,head_times = <0>;
			input_booster,tail_times = <200>;
			input_booster,phase_times = <0>;
		};
		/* If you need to add new key type, add it this position */
	};
};
